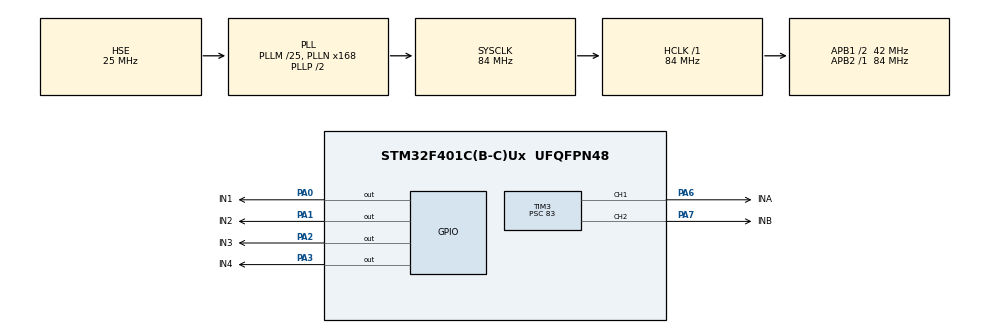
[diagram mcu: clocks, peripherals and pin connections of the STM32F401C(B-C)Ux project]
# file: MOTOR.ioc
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Mcu.Family=STM32F4
Mcu.Name=STM32F401C(B-C)Ux
Mcu.Package=UFQFPN48
NVIC.PriorityGroup=NVIC_PRIORITYGROUP_4
PA0-WKUP.GPIO_Label=IN1
PA0-WKUP.Signal=GPIO_Output
PA1.GPIO_Label=IN2
PA1.Signal=GPIO_Output
PA2.GPIO_Label=IN3
PA2.Signal=GPIO_Output
PA3.GPIO_Label=IN4
PA3.Signal=GPIO_Output
PA6.GPIO_Label=INA
PA6.Signal=S_TIM3_CH1
PA7.GPIO_Label=INB
PA7.Signal=S_TIM3_CH2
PH0\ -\ OSC_IN.Mode=HSE-External-Oscillator
PH0\ -\ OSC_IN.Signal=RCC_OSC_IN
PH1\ -\ OSC_OUT.Mode=HSE-External-Oscillator
PH1\ -\ OSC_OUT.Signal=RCC_OSC_OUT
ProjectManager.HeapSize=0x200
ProjectManager.StackSize=0x400
ProjectManager.TargetToolchain=CMake
RCC.48MHZClocksFreq_Value=42000000
RCC.AHBFreq_Value=84000000
RCC.APB1CLKDivider=RCC_HCLK_DIV2
RCC.APB1Freq_Value=42000000
RCC.APB1TimFreq_Value=84000000
RCC.APB2Freq_Value=84000000
RCC.APB2TimFreq_Value=84000000
RCC.CortexFreq_Value=84000000
RCC.HCLKFreq_Value=84000000
RCC.HSE_VALUE=25000000
RCC.HSI_VALUE=16000000
RCC.LSE_VALUE=32768
RCC.PLLM=25
RCC.PLLN=168
RCC.PLLSourceVirtual=RCC_PLLSOURCE_HSE
RCC.SYSCLKFreq_VALUE=84000000
RCC.SYSCLKSource=RCC_SYSCLKSOURCE_PLLCLK
RCC.VCOOutputFreq_Value=168000000
SH.S_TIM3_CH1.0=TIM3_CH1,PWM Generation1 CH1
SH.S_TIM3_CH2.0=TIM3_CH2,PWM Generation2 CH2
TIM3.Channel-PWM\ Generation1\ CH1=TIM_CHANNEL_1
TIM3.Channel-PWM\ Generation2\ CH2=TIM_CHANNEL_2
TIM3.Period=99
TIM3.Prescaler=83
VP_TIM3_VS_ClockSourceINT.Mode=Internal
board=custom

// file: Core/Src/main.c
/* USER CODE BEGIN Header */
/**
  ******************************************************************************
  * @file           : main.c
  * @brief          : Main program body
  ******************************************************************************
  */
/* USER CODE END Header */
#include "main.h"

/* USER CODE BEGIN PD */
#ifndef IN1_Pin
#define IN1_Pin GPIO_PIN_0
#endif
#ifndef IN2_Pin
#define IN2_Pin GPIO_PIN_1
#endif
#ifndef IN3_Pin
#define IN3_Pin GPIO_PIN_2
#endif
#ifndef IN4_Pin
#define IN4_Pin GPIO_PIN_3
#endif

#define PWM_POTENCIA_MAXIMA     100U
#define INTERVALO_MOVIMIENTO_MS 200U
/* USER CODE END PD */

TIM_HandleTypeDef htim3;

void SystemClock_Config(void);
static void MX_GPIO_Init(void);
static void MX_TIM3_Init(void);
/* USER CODE BEGIN PFP */
__weak void HAL_TIM_MspPostInit(TIM_HandleTypeDef *htim)
{
  (void)htim;
}
/* USER CODE END PFP */

/* USER CODE BEGIN 0 */
static void Motores_Potencia_Maxima(void)
{
  __HAL_TIM_SET_COMPARE(&htim3, TIM_CHANNEL_1, PWM_POTENCIA_MAXIMA);
  __HAL_TIM_SET_COMPARE(&htim3, TIM_CHANNEL_2, PWM_POTENCIA_MAXIMA);
}

static void Motor_Izquierdo_Adelante(void)
{
  HAL_GPIO_WritePin(GPIOA, IN1_Pin, GPIO_PIN_SET);
  HAL_GPIO_WritePin(GPIOA, IN2_Pin, GPIO_PIN_RESET);
}

static void Motor_Izquierdo_Atras(void)
{
  HAL_GPIO_WritePin(GPIOA, IN1_Pin, GPIO_PIN_RESET);
  HAL_GPIO_WritePin(GPIOA, IN2_Pin, GPIO_PIN_SET);
}

static void Motor_Derecho_Adelante(void)
{
  HAL_GPIO_WritePin(GPIOA, IN3_Pin, GPIO_PIN_RESET);
  HAL_GPIO_WritePin(GPIOA, IN4_Pin, GPIO_PIN_SET);
}

static void Motor_Derecho_Atras(void)
{
  HAL_GPIO_WritePin(GPIOA, IN3_Pin, GPIO_PIN_SET);
  HAL_GPIO_WritePin(GPIOA, IN4_Pin, GPIO_PIN_RESET);
}

static void Robot_Adelante(void)
{
  Motor_Izquierdo_Adelante();
  Motor_Derecho_Adelante();
}

static void Robot_Retroceder(void)
{
  Motor_Izquierdo_Atras();
  Motor_Derecho_Atras();
}

static void Robot_GiroIzquierda(void)
{
  Motor_Izquierdo_Atras();
  Motor_Derecho_Adelante();
}

static void Robot_GiroDerecha(void)
{
  Motor_Izquierdo_Adelante();
  Motor_Derecho_Atras();
}

static void Robot_Parar(void)
{
  HAL_GPIO_WritePin(GPIOA, IN1_Pin | IN2_Pin | IN3_Pin | IN4_Pin, GPIO_PIN_RESET);
}
/* USER CODE END 0 */

int main(void)
{
  /* MCU Configuration--------------------------------------------------------*/
  HAL_Init();
  SystemClock_Config();

  /* Initialize all configured peripherals */
  MX_GPIO_Init();
  MX_TIM3_Init();

  /* USER CODE BEGIN 2 */
  HAL_TIM_PWM_Start(&htim3, TIM_CHANNEL_1);
  HAL_TIM_PWM_Start(&htim3, TIM_CHANNEL_2);
  Motores_Potencia_Maxima();
  /* USER CODE END 2 */

  /* Infinite loop */
  /* USER CODE BEGIN WHILE */
  while (1)
  {
    Robot_Adelante();
    HAL_Delay(INTERVALO_MOVIMIENTO_MS);

    Robot_GiroIzquierda();
    HAL_Delay(INTERVALO_MOVIMIENTO_MS);

    Robot_Retroceder();
    HAL_Delay(INTERVALO_MOVIMIENTO_MS);

    Robot_GiroDerecha();
    HAL_Delay(INTERVALO_MOVIMIENTO_MS);

    Robot_Parar();
    HAL_Delay(INTERVALO_MOVIMIENTO_MS);
  }
  /* USER CODE END WHILE */
}

void SystemClock_Config(void)
{
  RCC_OscInitTypeDef RCC_OscInitStruct = {0};
  RCC_ClkInitTypeDef RCC_ClkInitStruct = {0};

  __HAL_RCC_PWR_CLK_ENABLE();
  __HAL_PWR_VOLTAGESCALING_CONFIG(PWR_REGULATOR_VOLTAGE_SCALE2);

  RCC_OscInitStruct.OscillatorType = RCC_OSCILLATORTYPE_HSE;
  RCC_OscInitStruct.HSEState = RCC_HSE_ON;
  RCC_OscInitStruct.PLL.PLLState = RCC_PLL_ON;
  RCC_OscInitStruct.PLL.PLLSource = RCC_PLLSOURCE_HSE;
  RCC_OscInitStruct.PLL.PLLM = 25;
  RCC_OscInitStruct.PLL.PLLN = 168;
  RCC_OscInitStruct.PLL.PLLP = RCC_PLLP_DIV2;
  RCC_OscInitStruct.PLL.PLLQ = 4;
  if (HAL_RCC_OscConfig(&RCC_OscInitStruct) != HAL_OK)
  {
    Error_Handler();
  }

  RCC_ClkInitStruct.ClockType = RCC_CLOCKTYPE_HCLK|RCC_CLOCKTYPE_SYSCLK
                              |RCC_CLOCKTYPE_PCLK1|RCC_CLOCKTYPE_PCLK2;
  RCC_ClkInitStruct.SYSCLKSource = RCC_SYSCLKSOURCE_PLLCLK;
  RCC_ClkInitStruct.AHBCLKDivider = RCC_SYSCLK_DIV1;
  RCC_ClkInitStruct.APB1CLKDivider = RCC_HCLK_DIV2;
  RCC_ClkInitStruct.APB2CLKDivider = RCC_HCLK_DIV1;

  if (HAL_RCC_ClockConfig(&RCC_ClkInitStruct, FLASH_LATENCY_2) != HAL_OK)
  {
    Error_Handler();
  }
}

static void MX_TIM3_Init(void)
{
  TIM_ClockConfigTypeDef sClockSourceConfig = {0};
  TIM_MasterConfigTypeDef sMasterConfig = {0};
  TIM_OC_InitTypeDef sConfigOC = {0};

  htim3.Instance = TIM3;
  htim3.Init.Prescaler = 83;
  htim3.Init.CounterMode = TIM_COUNTERMODE_UP;
  htim3.Init.Period = 99;
  htim3.Init.ClockDivision = TIM_CLOCKDIVISION_DIV1;
  htim3.Init.AutoReloadPreload = TIM_AUTORELOAD_PRELOAD_DISABLE;
  if (HAL_TIM_Base_Init(&htim3) != HAL_OK)
  {
    Error_Handler();
  }
  sClockSourceConfig.ClockSource = TIM_CLOCKSOURCE_INTERNAL;
  if (HAL_TIM_ConfigClockSource(&htim3, &sClockSourceConfig) != HAL_OK)
  {
    Error_Handler();
  }
  if (HAL_TIM_PWM_Init(&htim3) != HAL_OK)
  {
    Error_Handler();
  }
  sMasterConfig.MasterOutputTrigger = TIM_TRGO_RESET;
  sMasterConfig.MasterSlaveMode = TIM_MASTERSLAVEMODE_DISABLE;
  if (HAL_TIMEx_MasterConfigSynchronization(&htim3, &sMasterConfig) != HAL_OK)
  {
    Error_Handler();
  }
  sConfigOC.OCMode = TIM_OCMODE_PWM1;
  sConfigOC.Pulse = 0;
  sConfigOC.OCPolarity = TIM_OCPOLARITY_HIGH;
  sConfigOC.OCFastMode = TIM_OCFAST_DISABLE;
  if (HAL_TIM_PWM_ConfigChannel(&htim3, &sConfigOC, TIM_CHANNEL_1) != HAL_OK)
  {
    Error_Handler();
  }
  if (HAL_TIM_PWM_ConfigChannel(&htim3, &sConfigOC, TIM_CHANNEL_2) != HAL_OK)
  {
    Error_Handler();
  }
  HAL_TIM_MspPostInit(&htim3);
}

static void MX_GPIO_Init(void)
{
  GPIO_InitTypeDef GPIO_InitStruct = {0};

  __HAL_RCC_GPIOH_CLK_ENABLE();
  __HAL_RCC_GPIOA_CLK_ENABLE();

  HAL_GPIO_WritePin(GPIOA, IN1_Pin|IN2_Pin|IN3_Pin|IN4_Pin, GPIO_PIN_RESET);

  GPIO_InitStruct.Pin = IN1_Pin|IN2_Pin|IN3_Pin|IN4_Pin;
  GPIO_InitStruct.Mode = GPIO_MODE_OUTPUT_PP;
  GPIO_InitStruct.Pull = GPIO_NOPULL;
  GPIO_InitStruct.Speed = GPIO_SPEED_FREQ_LOW;
  HAL_GPIO_Init(GPIOA, &GPIO_InitStruct);
}

void Error_Handler(void)
{
  __disable_irq();
  while (1)
  {
  }
}
